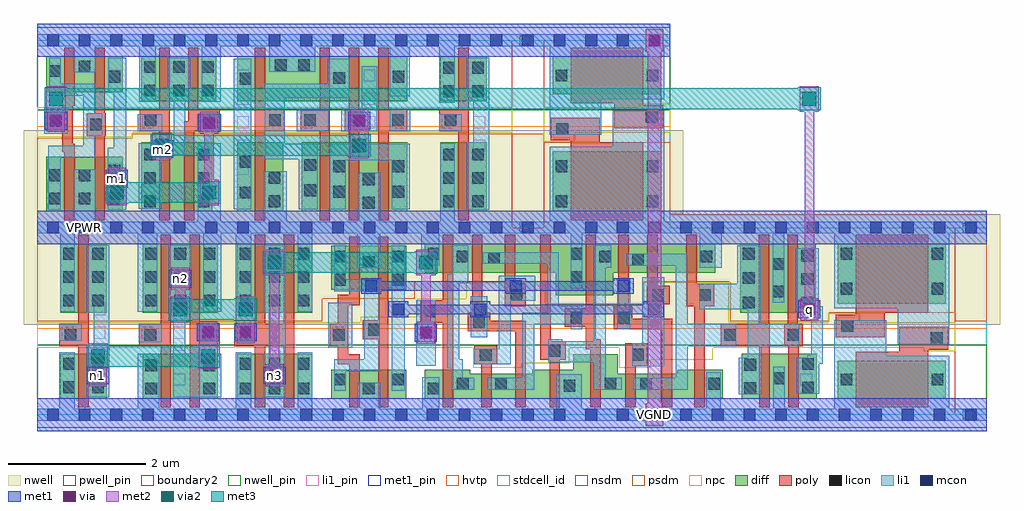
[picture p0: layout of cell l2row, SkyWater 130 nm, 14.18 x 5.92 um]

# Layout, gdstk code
import gdstk
lib = gdstk.Library(unit=1e-6, precision=1e-09)
def R(c, l, rs):  # rectangles x0, y0, x1, y1
    for r in rs: c.add(gdstk.rectangle(r[:2], r[2:], *l))
def A(c, l, x, y, w, h, nx, ny, dx, dy):  # array of equal rectangles
    R(c, l, [(x+i*dx, y+j*dy, x+i*dx+w, y+j*dy+h) for i in range(nx) for j in range(ny)])
nwell_pin = (64, 16)
nwell = (64, 20)
diff = (65, 20)
poly = (66, 20)
licon = (66, 44)
li1_pin = (67, 16)
li1 = (67, 20)
mcon = (67, 44)
met1_pin = (68, 16)
met1 = (68, 20)
via = (68, 44)
met2 = (69, 20)
via2 = (69, 44)
met3 = (70, 20)
hvtp = (78, 44)
stdcell_id = (81, 4)
nsdm = (93, 44)
psdm = (94, 20)
npc = (95, 20)
pwell_pin = (122, 16)
boundary2 = (236, 0)

l2row = lib.new_cell('l2row')
R(l2row, nwell_pin, [(0.145,2.635,0.315,2.805), (0.145,2.635,0.315,2.805), (0.145,2.635,0.315,2.805), (1.52,2.635,1.69,2.805), (1.53,2.635,1.7,2.805), (2.905,2.635,3.075,2.805), (2.905,2.635,3.075,2.805), (4.285,2.635,4.455,2.805), (4.285,2.635,4.455,2.805), (5.665,2.635,5.835,2.805), (5.665,2.635,5.835,2.805), (7.505,2.635,7.675,2.805), (11.645,2.635,11.815,2.805), (13.495,2.67,13.595,2.755), (7.055,2.685,7.155,2.77)])
A(l2row, nwell, -0.19, 1.305, 1.76, 1.605, 3, 1, 1.38, 0)
R(l2row, nwell, [(3.95,1.305,11.69,2.91), (11.31,1.305,13.53,2.91), (13.15,1.305,13.99,2.91), (-0.19,2.53,1.57,4.135), (1.19,2.53,2.95,4.135), (2.57,2.53,5.71,4.135), (5.33,2.53,7.09,4.135), (6.71,2.53,7.55,4.135), (7.17,2.53,9.39,4.135)])
R(l2row, diff, [(0.34,0.235,1.01,0.885), (1.535,0.235,2.625,0.885), (2.905,0.235,3.995,0.885), (4.275,0.235,5.365,0.655), (5.635,0.235,6.295,0.655), (6.295,0.235,7.195,0.595), (7.195,0.235,7.79,0.655), (7.79,0.235,8.44,0.875), (8.44,0.235,9.3,0.595), (9.3,0.235,9.96,0.655), (10.235,0.235,11.325,0.885), (11.635,0.235,13.205,0.785), (0.34,1.485,1.01,2.485), (1.535,1.485,2.625,2.485), (2.905,1.485,3.995,2.485), (10.215,1.485,11.315,2.485), (11.635,1.615,13.205,2.485), (7.535,1.735,8.37,2.485), (4.275,1.815,5.365,2.455), (5.635,2.065,7.535,2.485), (8.37,2.065,9.85,2.485), (0.135,2.955,1.245,3.745), (1.515,2.955,2.545,3.955), (2.905,2.955,3.575,3.955), (3.845,2.955,5.375,3.955), (5.86,2.955,6.53,3.955), (7.495,2.955,9.065,3.825), (1.515,4.555,2.605,5.205), (2.905,4.555,5.375,5.205), (5.86,4.555,6.53,5.205), (7.495,4.655,9.065,5.205), (0.135,4.685,1.245,5.205)])
R(l2row, poly, [(0.6,0.105,0.75,2.615), (1.795,0.105,1.945,2.615), (2.215,0.105,2.365,2.615), (3.165,0.105,3.315,2.615), (3.585,0.105,3.735,2.615), (4.535,0.105,4.685,0.88), (4.955,0.105,5.105,2.585), (5.895,0.105,6.045,2.615), (6.455,0.105,6.605,1.005), (6.95,0.105,7.1,1.365), (7.445,0.105,7.46,2.615), (7.46,0.105,7.595,1.065), (8.04,0.105,8.12,2.615), (8.12,0.105,8.19,1.1), (8.545,0.105,8.695,1.035), (9.075,0.105,9.225,1.395), (9.55,0.105,9.585,2.615), (9.585,0.105,9.7,1.905), (10.495,0.105,10.635,2.615), (10.635,0.105,10.645,1.325), (10.915,0.105,11.055,2.615), (11.055,0.105,11.065,1.325), (11.895,0.105,12.525,0.915), (12.525,0.105,12.945,1.275), (8.695,0.705,8.865,1.035), (4.37,0.73,4.52,1.74), (4.52,0.73,4.535,0.88), (6.355,0.735,6.455,1.005), (6.605,0.735,6.685,1.005), (7.31,0.795,7.445,2.615), (7.595,0.795,7.68,1.065), (12.945,0.945,13.235,1.275), (7.97,0.95,8.04,2.615), (0.32,0.995,0.6,1.325), (1.485,0.995,1.795,1.325), (2.365,0.995,2.655,1.325), (2.865,0.995,3.165,1.325), (3.315,0.995,3.585,1.325), (4.25,0.995,4.37,1.325), (9.935,0.995,10.485,1.325), (10.485,0.995,10.495,2.615), (10.855,0.995,10.905,1.325), (10.905,0.995,10.915,2.615), (11.065,0.995,11.125,1.325), (4.73,1.1,4.955,1.37), (11.605,1.125,11.895,1.455), (11.895,1.125,12.315,2.615), (6.255,1.215,6.32,1.485), (6.32,1.215,6.47,2.615), (6.47,1.215,6.585,1.485), (6.585,1.215,6.95,1.365), (8.38,1.245,8.445,1.575), (8.445,1.245,8.595,2.615), (8.595,1.245,8.65,1.575), (8.65,1.245,9.075,1.395), (7.67,1.275,7.97,1.545), (5.57,1.335,5.895,1.665), (12.315,1.485,12.945,2.615), (6.795,1.575,6.945,2.615), (6.945,1.575,7.1,1.905), (9.435,1.575,9.55,2.615), (9.7,1.575,9.84,1.905), (4.52,1.59,4.535,1.74), (4.535,1.59,4.685,2.585), (8.86,1.605,8.865,1.875), (8.865,1.605,9.015,2.615), (9.015,1.605,9.19,1.875), (0.395,2.825,0.515,5.335), (0.515,2.825,0.545,3.94), (0.835,2.825,0.985,5.335), (1.775,2.825,1.925,5.335), (2.135,2.825,2.195,4.265), (2.195,2.825,2.285,5.335), (3.165,2.825,3.315,5.335), (4.105,2.825,4.255,5.335), (4.53,2.825,4.68,5.335), (4.96,2.825,5.11,5.335), (6.12,2.825,6.27,5.335), (7.755,2.825,8.175,4.315), (8.175,2.825,8.805,3.955), (0.365,3.82,0.395,4.61), (7.465,3.985,7.755,4.315), (0.725,4.05,0.835,4.38), (0.985,4.05,0.995,4.38), (0.135,4.115,0.365,4.445), (1.49,4.115,1.775,4.445), (2.285,4.115,2.345,5.335), (2.345,4.115,2.655,4.445), (3.315,4.115,3.59,4.445), (3.83,4.115,4.105,4.445), (4.47,4.115,4.53,4.445), (4.68,4.115,4.74,4.445), (5.11,4.115,5.38,4.445), (5.84,4.115,6.12,4.445), (8.385,4.165,8.805,5.335), (8.805,4.165,9.095,4.495), (0.515,4.49,0.545,5.335), (7.755,4.525,8.385,5.335)])
A(l2row, licon, 2.945, 0.295, 0.17, 0.17, 3, 2, 0.42, 0.36)
A(l2row, licon, 10.255, 1.545, 0.17, 0.17, 1, 3, 0, 0.355)
A(l2row, licon, 11.105, 1.545, 0.17, 0.17, 1, 3, 0, 0.34)
A(l2row, licon, 0.38, 1.575, 0.17, 0.17, 1, 3, 0, 0.34)
A(l2row, licon, 0.8, 1.575, 0.17, 0.17, 1, 3, 0, 0.34)
A(l2row, licon, 1.575, 1.575, 0.17, 0.17, 3, 3, 0.42, 0.34)
A(l2row, licon, 2.945, 1.575, 0.17, 0.17, 3, 3, 0.42, 0.34)
A(l2row, licon, 1.555, 3.015, 0.17, 0.17, 1, 3, 0, 0.34)
A(l2row, licon, 2.335, 3.015, 0.17, 0.17, 1, 3, 0, 0.34)
A(l2row, licon, 5.9, 3.015, 0.17, 0.17, 1, 3, 0, 0.34)
A(l2row, licon, 6.32, 3.015, 0.17, 0.17, 1, 3, 0, 0.34)
A(l2row, licon, 0.175, 3.055, 0.17, 0.17, 3, 1, 0.43, 0)
A(l2row, licon, 3.88, 4.195, 0.17, 0.17, 3, 1, 0.64, 0)
A(l2row, licon, 1.555, 4.625, 0.17, 0.17, 3, 2, 0.42, 0.34)
R(l2row, licon, [(1.575,0.295,1.745,0.465), (2.415,0.295,2.585,0.465), (4.735,0.295,4.905,0.465), (5.675,0.295,5.845,0.465), (10.275,0.3,10.445,0.47), (11.115,0.31,11.285,0.48), (0.38,0.315,0.55,0.485), (0.8,0.315,0.97,0.485), (7.65,0.335,7.82,0.505), (6.1,0.365,6.27,0.535), (6.655,0.365,6.825,0.535), (8.245,0.365,8.415,0.535), (8.76,0.365,8.93,0.535), (9.75,0.365,9.92,0.535), (4.315,0.425,4.485,0.595), (5.155,0.425,5.325,0.595), (11.675,0.425,11.845,0.595), (12.995,0.425,13.165,0.595), (10.695,0.445,10.865,0.615), (1.575,0.635,1.745,0.805), (2.415,0.635,2.585,0.805), (10.275,0.64,10.445,0.81), (11.115,0.65,11.285,0.82), (0.38,0.655,0.55,0.825), (0.8,0.655,0.97,0.825), (6.435,0.785,6.605,0.955), (8.645,0.785,8.815,0.955), (7.43,0.845,7.6,1.015), (12.985,1.025,13.155,1.195), (0.4,1.075,0.57,1.245), (1.56,1.075,1.73,1.245), (2.4,1.075,2.57,1.245), (2.945,1.075,3.115,1.245), (4.3,1.075,4.47,1.245), (9.985,1.075,10.155,1.245), (10.905,1.075,11.075,1.245), (4.81,1.15,4.98,1.32), (11.685,1.205,11.855,1.375), (6.335,1.265,6.505,1.435), (7.75,1.325,7.92,1.495), (8.43,1.325,8.6,1.495), (5.62,1.415,5.79,1.585), (6.88,1.655,7.05,1.825), (8.94,1.655,9.11,1.825), (9.62,1.655,9.79,1.825), (10.685,1.705,10.855,1.875), (11.675,1.745,11.845,1.915), (12.995,1.745,13.165,1.915), (4.315,1.875,4.485,2.045), (5.155,1.875,5.325,2.045), (7.75,1.915,7.92,2.085), (10.685,2.105,10.855,2.275), (4.735,2.135,4.905,2.305), (8.645,2.165,8.815,2.335), (6.555,2.19,6.725,2.36), (4.315,2.215,4.485,2.385), (5.155,2.215,5.325,2.385), (6.095,2.215,6.265,2.385), (8.17,2.215,8.34,2.385), (9.64,2.215,9.81,2.385), (5.675,2.255,5.845,2.425), (7.75,2.255,7.92,2.425), (11.675,2.255,11.845,2.425), (12.995,2.255,13.165,2.425), (4.735,2.995,4.905,3.165), (3.365,3.015,3.535,3.185), (7.535,3.015,7.705,3.185), (8.855,3.015,9.025,3.185), (2.945,3.145,3.115,3.315), (4.305,3.155,4.475,3.325), (5.165,3.155,5.335,3.325), (3.885,3.175,4.055,3.345), (4.735,3.335,4.905,3.505), (3.365,3.355,3.535,3.525), (0.175,3.395,0.345,3.565), (0.605,3.395,0.775,3.565), (1.035,3.46,1.205,3.63), (4.305,3.525,4.475,3.695), (5.165,3.525,5.335,3.695), (7.535,3.525,7.705,3.695), (8.855,3.525,9.025,3.695), (3.885,3.545,4.055,3.715), (2.945,3.585,3.115,3.755), (7.545,4.065,7.715,4.235), (0.775,4.13,0.945,4.3), (0.185,4.195,0.355,4.365), (1.565,4.195,1.735,4.365), (2.405,4.195,2.575,4.365), (3.37,4.195,3.54,4.365), (5.92,4.195,6.09,4.365), (8.845,4.245,9.015,4.415), (5.9,4.615,6.07,4.785), (6.32,4.615,6.49,4.785), (2.945,4.795,3.115,4.965), (4.305,4.805,4.475,4.975), (1.035,4.825,1.205,4.995), (5.165,4.825,5.335,4.995), (7.535,4.845,7.705,5.015), (8.855,4.845,9.025,5.015), (0.175,4.91,0.345,5.08), (5.9,4.955,6.07,5.125), (6.32,4.955,6.49,5.125), (0.605,4.975,0.775,5.145), (3.455,4.995,3.625,5.165), (3.795,4.995,3.965,5.165)])
A(l2row, li1_pin, 3.365, 0.765, 0.17, 0.17, 1, 3, 0, 0.34)
A(l2row, li1_pin, 1.52, 1.105, 0.17, 0.17, 3, 1, 0.46, 0)
A(l2row, li1_pin, 2.905, 3.145, 0.17, 0.17, 1, 3, 0, 0.34)
A(l2row, li1_pin, 2.905, 4.165, 0.17, 0.17, 3, 1, 0.92, 0)
R(l2row, li1_pin, [(1.98,0.425,2.15,0.595), (11.09,0.425,11.26,0.595), (1.98,0.765,2.15,0.935), (0.36,1.105,0.53,1.275), (0.82,1.105,0.99,1.275), (2.905,1.105,3.075,1.275), (4.285,1.105,4.455,1.275), (5.585,1.105,5.755,1.275), (0.82,1.445,0.99,1.615), (0.145,2.635,0.315,2.805), (1.055,3.145,1.225,3.315), (1.53,3.145,1.7,3.315), (1.055,3.485,1.225,3.655), (6.34,3.825,6.51,3.995), (0.145,4.165,0.315,4.335), (1.525,4.165,1.695,4.335), (2.445,4.165,2.615,4.335), (5.205,4.165,5.375,4.335), (5.88,4.165,6.05,4.335), (6.34,4.165,6.51,4.335), (2.905,4.505,3.075,4.675), (4.745,4.505,4.915,4.675), (1.055,4.845,1.225,5.015), (2.905,4.845,3.075,5.015), (4.745,4.845,4.915,5.015), (0.155,5.355,0.325,5.525)])
R(l2row, li1, [(0,-0.085,1.38,0.085), (1.38,-0.085,1.465,0.085), (1.465,-0.085,1.775,0.885), (1.775,-0.085,2.76,0.085), (2.76,-0.085,2.885,0.085), (2.885,-0.085,3.115,0.905), (3.115,-0.085,3.785,0.085), (3.785,-0.085,3.995,0.905), (3.995,-0.085,4.14,0.085), (4.14,-0.085,4.655,0.085), (4.655,-0.085,4.985,0.465), (4.985,-0.085,5.595,0.085), (5.595,-0.085,5.845,0.545), (5.845,-0.085,7.54,0.085), (7.54,-0.085,7.91,0.585), (7.91,-0.085,9.725,0.085), (9.725,-0.085,9.935,0.615), (9.935,-0.085,10.695,0.085), (10.695,-0.085,10.865,0.695), (10.865,-0.085,11.5,0.085), (11.5,-0.085,11.585,0.085), (11.585,-0.085,12.335,1.375), (12.335,-0.085,13.255,0.855), (13.255,-0.085,13.34,0.085), (13.34,-0.085,13.8,0.085), (0.32,0.005,0.55,0.905), (0.72,0.255,0.82,0.885), (0.82,0.255,1.05,2.465), (1.98,0.255,2.15,2.465), (2.15,0.255,2.245,0.885), (2.245,0.255,2.675,0.885), (3.285,0.255,3.365,0.885), (3.365,0.255,3.615,2.465), (10.195,0.3,10.325,0.825), (10.325,0.3,10.515,2.465), (10.515,0.3,10.525,1.325), (11.035,0.305,11.19,0.825), (11.19,0.305,11.2,0.865), (11.2,0.305,11.245,0.865), (11.245,0.305,11.355,2.42), (11.355,0.305,11.365,1.575), (4.315,0.345,4.485,0.805), (5.155,0.345,5.34,2.465), (6.015,0.365,6.13,2.465), (6.13,0.365,6.185,0.805), (6.185,0.365,6.265,0.535), (6.265,0.365,6.35,0.535), (6.545,0.365,7.05,0.535), (7.05,0.365,7.22,1.485), (8.09,0.365,8.26,2.465), (8.26,0.365,8.34,0.535), (8.34,0.365,8.495,0.535), (8.665,0.365,9.28,0.535), (9.28,0.365,9.45,2.335), (0.8,0.485,0.97,0.655), (3.365,0.485,3.535,0.655), (4.485,0.635,4.75,0.805), (4.75,0.635,4.98,1.965), (5.96,0.675,6.015,2.04), (8.645,0.705,8.79,1.035), (8.79,0.705,9.11,1.995), (5.51,0.715,5.79,1.665), (6.355,0.735,6.71,0.955), (6.71,0.735,6.88,2.02), (11.365,0.74,11.415,1.575), (7.43,0.765,7.63,1.095), (7.63,0.765,8.09,1.065), (4.23,0.975,4.58,1.625), (9.45,0.995,10.155,1.325), (10.525,0.995,11.075,1.325), (12.505,1.025,13.255,2.805), (1.475,1.055,1.81,1.325), (0.32,1.075,0.65,1.315), (2.32,1.075,2.655,1.325), (2.865,1.075,3.195,1.325), (5.565,1.105,5.735,1.275), (2.403,1.115,2.573,1.285), (2.945,1.115,3.115,1.285), (6.3,1.125,6.54,1.72), (7.75,1.245,7.92,1.575), (8.43,1.245,8.62,1.965), (7.22,1.315,7.41,1.485), (7.41,1.315,7.58,2.36), (7.58,1.315,7.75,1.575), (11.2,1.445,11.245,2.42), (11.135,1.45,11.305,1.62), (0.72,1.485,0.82,2.465), (1.915,1.485,1.98,2.465), (2.15,1.485,2.245,2.465), (3.285,1.485,3.365,2.465), (0.34,1.495,0.55,2.675), (1.465,1.495,1.745,2.805), (2.415,1.495,2.675,2.805), (2.885,1.495,3.115,2.805), (3.785,1.495,3.995,2.805), (11.025,1.495,11.035,2.42), (11.035,1.495,11.19,2.42), (11.19,1.495,11.2,2.42), (9.62,1.53,10.175,1.905), (10.175,1.53,10.195,2.465), (10.195,1.53,10.325,2.465), (11.585,1.545,12.505,2.805), (10.685,1.625,10.855,2.805), (6.88,1.655,7.24,2.02), (4.315,1.795,4.485,2.465), (4.485,1.795,4.75,1.965), (7.75,1.835,7.92,2.805), (1.995,1.89,2.165,2.06), (6.13,1.91,6.185,2.465), (6.185,1.91,6.265,2.465), (4.655,2.135,4.985,2.805), (8.26,2.135,8.34,2.465), (9.63,2.135,9.945,2.805), (8.565,2.165,8.665,2.335), (8.665,2.165,9.28,2.335), (5.58,2.175,5.845,2.805), (6.475,2.19,6.545,2.36), (6.545,2.19,7.05,2.36), (7.05,2.19,7.22,2.36), (7.22,2.19,7.41,2.36), (0,2.635,1.38,2.805), (0,2.635,0.525,2.805), (0.525,2.635,0.855,3.565), (0.855,2.635,1.38,2.805), (1.38,2.635,1.465,2.805), (1.38,2.635,2.335,2.805), (1.745,2.635,2.415,2.805), (2.335,2.635,2.665,3.945), (2.665,2.635,2.76,2.805), (2.675,2.635,2.76,2.805), (2.76,2.635,2.885,2.805), (2.76,2.635,3.285,2.805), (3.115,2.635,3.785,2.805), (3.285,2.635,3.625,3.535), (3.625,2.635,4.655,2.805), (3.995,2.635,4.14,2.805), (4.14,2.635,4.655,2.805), (4.655,2.635,4.985,3.515), (4.985,2.635,5.58,2.805), (4.985,2.635,5.52,2.805), (5.52,2.635,6.9,2.805), (5.845,2.635,7.75,2.805), (6.9,2.635,7.36,2.805), (7.36,2.635,7.445,2.805), (7.445,2.635,8.365,3.895), (7.92,2.635,9.63,2.805), (8.365,2.635,9.115,4.415), (9.115,2.635,9.2,2.805), (9.945,2.635,10.685,2.805), (10.855,2.635,11.5,2.805), (11.5,2.635,11.585,2.805), (13.255,2.635,13.34,2.805), (13.34,2.635,13.8,2.805), (5.86,2.765,6.07,3.945), (0.165,2.975,0.175,3.905), (0.175,2.975,0.345,3.905), (1.025,2.975,1.035,3.88), (1.035,2.975,1.115,3.88), (1.115,2.975,1.295,5.185), (6.24,2.975,6.34,3.955), (6.34,2.975,6.57,5.185), (2.855,2.985,3.115,5.175), (3.805,2.985,4.075,3.935), (4.255,2.985,4.485,3.935), (5.155,2.985,5.415,3.935), (1.475,2.99,1.805,3.945), (1.075,3.342,1.245,3.512), (4.485,3.695,5.155,3.935), (3.305,3.715,3.595,4.805), (3.595,3.715,3.805,3.935), (0.345,3.735,0.67,3.905), (0.67,3.735,0.84,4.805), (1.73,3.775,1.9,3.945), (1.805,3.775,1.895,3.945), (1.895,3.775,1.985,3.945), (1.985,3.775,2.155,5.185), (0.84,4.05,0.945,4.38), (7.445,4.065,8.195,5.525), (0.105,4.085,0.445,4.455), (1.465,4.115,1.815,4.365), (2.325,4.115,2.675,4.365), (3.775,4.115,4.24,4.425), (4.42,4.115,4.715,4.425), (4.715,4.115,4.945,5.065), (5.125,4.115,5.425,4.445), (5.84,4.125,6.17,4.365), (2.415,4.155,2.585,4.325), (0.19,4.185,0.36,4.355), (4.597,4.185,4.767,4.355), (5.84,4.535,6.07,5.435), (1.485,4.545,1.725,5.525), (1.895,4.545,1.985,5.185), (2.155,4.545,2.225,5.185), (2.395,4.545,2.665,5.525), (6.24,4.555,6.34,5.185), (8.195,4.585,9.115,5.525), (3.595,4.605,3.805,4.805), (3.805,4.605,4.075,4.805), (4.075,4.605,4.225,4.805), (4.225,4.605,4.535,5.175), (5.125,4.625,5.415,5.525), (0.175,4.635,0.345,5.185), (0.345,4.635,0.67,4.805), (1.035,4.68,1.115,5.185), (0.525,4.975,0.855,5.525), (3.375,4.985,4.045,5.525), (0,5.355,0.525,5.525), (0.855,5.355,1.38,5.525), (1.38,5.355,1.485,5.525), (1.725,5.355,2.395,5.525), (2.665,5.355,2.76,5.525), (2.76,5.355,3.375,5.525), (4.045,5.355,5.125,5.525), (5.415,5.355,5.52,5.525), (5.52,5.355,6.9,5.525), (6.9,5.355,7.36,5.525), (7.36,5.355,7.445,5.525), (9.115,5.355,9.2,5.525)])
A(l2row, mcon, 0.145, -0.085, 0.17, 0.17, 30, 1, 0.46, 0)
A(l2row, mcon, 8.885, 2.635, 0.17, 0.17, 11, 1, 0.46, 0)
A(l2row, mcon, 0.145, 5.355, 0.17, 0.17, 20, 1, 0.46, 0)
R(l2row, mcon, [(0.8,0.485,0.97,0.655), (3.365,0.485,3.535,0.655), (5.565,1.105,5.735,1.275), (2.403,1.115,2.573,1.285), (2.945,1.115,3.115,1.285), (5.165,1.445,5.335,1.615), (6.355,1.445,6.525,1.615), (8.875,1.445,9.045,1.615), (11.135,1.45,11.305,1.62), (4.77,1.785,4.94,1.955), (6.87,1.785,7.04,1.955), (8.44,1.785,8.61,1.955), (1.995,1.89,2.165,2.06), (0.145,2.635,0.315,2.805), (0.145,2.635,0.315,2.805), (0.605,2.635,0.775,2.805), (0.605,2.635,0.775,2.805), (1.065,2.635,1.235,2.805), (1.065,2.635,1.235,2.805), (1.525,2.635,1.695,2.805), (1.525,2.635,1.695,2.805), (1.985,2.635,2.155,2.805), (1.985,2.635,2.155,2.805), (2.445,2.635,2.615,2.805), (2.445,2.635,2.615,2.805), (2.905,2.635,3.075,2.805), (2.905,2.635,3.075,2.805), (3.365,2.635,3.535,2.805), (3.365,2.635,3.535,2.805), (3.825,2.635,3.995,2.805), (3.825,2.635,3.995,2.805), (4.285,2.635,4.455,2.805), (4.285,2.635,4.455,2.805), (4.745,2.635,4.915,2.805), (4.745,2.635,4.915,2.805), (5.205,2.635,5.375,2.805), (5.205,2.635,5.375,2.805), (5.665,2.635,5.835,2.805), (5.665,2.635,5.835,2.805), (6.125,2.635,6.295,2.805), (6.125,2.635,6.295,2.805), (6.585,2.635,6.755,2.805), (6.585,2.635,6.755,2.805), (7.045,2.635,7.215,2.805), (7.045,2.635,7.215,2.805), (7.505,2.635,7.675,2.805), (7.505,2.635,7.675,2.805), (7.965,2.635,8.135,2.805), (7.965,2.635,8.135,2.805), (8.425,2.635,8.595,2.805), (8.425,2.635,8.595,2.805), (8.885,2.635,9.055,2.805), (1.075,3.342,1.245,3.512), (1.73,3.775,1.9,3.945), (2.415,4.155,2.585,4.325), (0.19,4.185,0.36,4.355), (4.597,4.185,4.767,4.355)])
A(l2row, met1_pin, 2.905, 2.635, 0.17, 0.17, 3, 1, 1.38, 0)
A(l2row, met1_pin, 0.155, 5.355, 0.17, 0.17, 3, 1, 1.375, 0)
R(l2row, met1_pin, [(0.145,-0.085,0.315,0.085), (0.145,-0.085,0.315,0.085), (1.52,-0.085,1.69,0.085), (2.905,-0.085,3.075,0.085), (4.285,-0.085,4.455,0.085), (11.645,-0.085,11.815,0.085), (13.45,-0.065,13.63,0.08), (0.145,2.635,0.315,2.805), (0.145,2.635,0.315,2.805), (0.145,2.635,0.315,2.805), (1.52,2.635,1.69,2.805), (1.53,2.635,1.7,2.805), (2.905,2.635,3.075,2.805), (5.665,2.635,5.835,2.805), (7.505,2.635,7.675,2.805), (11.645,2.635,11.815,2.805), (13.45,2.635,13.63,2.785), (7.01,2.655,7.19,2.805), (5.665,5.355,5.835,5.525), (5.665,5.355,5.835,5.525), (7.505,5.355,7.675,5.525), (7.01,5.36,7.19,5.505)])
A(l2row, met1, 0, -0.24, 1.38, 0.48, 3, 1, 1.38, 0)
R(l2row, met1, [(4.14,-0.24,11.5,0.24), (11.5,-0.24,13.34,0.24), (13.34,-0.24,13.8,0.24), (8.81,-0.13,9.13,0.13), (8.9,-0.07,9.04,0.07), (8.9,-0.07,9.04,0.07), (0.725,0.44,1.045,0.7), (3.29,0.44,3.61,0.7), (0.74,0.455,1.03,0.685), (3.305,0.455,3.595,0.685), (0.815,0.5,0.955,0.64), (0.815,0.5,0.955,0.64), (0.815,0.5,0.955,0.64), (0.815,0.5,0.955,0.64), (3.38,0.5,3.52,0.64), (3.38,0.5,3.52,0.64), (3.38,0.5,3.52,0.64), (3.38,0.5,3.52,0.64), (5.49,1.06,5.81,1.32), (2.328,1.07,2.648,1.33), (2.87,1.07,3.19,1.33), (5.505,1.075,5.795,1.305), (2.343,1.085,2.633,1.315), (2.885,1.085,3.175,1.315), (5.58,1.12,5.72,1.26), (5.58,1.12,5.72,1.26), (5.58,1.12,5.72,1.26), (5.58,1.12,5.72,1.26), (2.418,1.13,2.558,1.27), (2.418,1.13,2.558,1.27), (2.418,1.13,2.558,1.27), (2.418,1.13,2.558,1.27), (2.96,1.13,3.1,1.27), (2.96,1.13,3.1,1.27), (2.96,1.13,3.1,1.27), (2.96,1.13,3.1,1.27), (11.06,1.405,11.38,1.665), (5.105,1.415,5.395,1.645), (6.295,1.415,6.585,1.645), (8.815,1.415,9.105,1.645), (11.075,1.42,11.365,1.65), (5.395,1.46,6.295,1.6), (6.585,1.46,8.815,1.6), (11.15,1.465,11.29,1.605), (11.15,1.465,11.29,1.605), (11.15,1.465,11.29,1.605), (11.15,1.465,11.29,1.605), (4.71,1.755,5,1.985), (6.81,1.755,7.1,1.985), (8.38,1.755,8.67,1.985), (5,1.8,6.81,1.94), (7.1,1.8,8.38,1.94), (1.92,1.845,2.24,2.105), (1.935,1.86,2.225,2.09), (2.01,1.905,2.15,2.045), (2.01,1.905,2.15,2.045), (2.01,1.905,2.15,2.045), (2.01,1.905,2.15,2.045), (0,2.48,1.38,2.96), (0,2.48,1.38,2.96), (1.38,2.48,2.76,2.96), (1.38,2.48,2.76,2.96), (2.76,2.48,4.14,2.96), (2.76,2.48,5.52,2.96), (4.14,2.48,11.5,2.96), (5.52,2.48,6.9,2.96), (6.9,2.48,7.36,2.96), (7.36,2.48,9.2,2.96), (11.5,2.48,13.34,2.96), (13.34,2.48,13.8,2.96), (1,3.297,1.32,3.557), (1.015,3.312,1.305,3.542), (1.09,3.357,1.23,3.497), (1.09,3.357,1.23,3.497), (1.09,3.357,1.23,3.497), (1.09,3.357,1.23,3.497), (1.655,3.73,1.975,3.99), (1.67,3.745,1.96,3.975), (1.745,3.79,1.885,3.93), (1.745,3.79,1.885,3.93), (1.745,3.79,1.885,3.93), (1.745,3.79,1.885,3.93), (2.34,4.11,2.66,4.37), (2.355,4.125,2.645,4.355), (0.115,4.14,0.435,4.4), (4.522,4.14,4.842,4.4), (0.13,4.155,0.42,4.385), (4.537,4.155,4.827,4.385), (2.43,4.17,2.57,4.31), (2.43,4.17,2.57,4.31), (2.43,4.17,2.57,4.31), (2.43,4.17,2.57,4.31), (0.205,4.2,0.345,4.34), (0.205,4.2,0.345,4.34), (0.205,4.2,0.345,4.34), (0.205,4.2,0.345,4.34), (4.612,4.2,4.752,4.34), (4.612,4.2,4.752,4.34), (4.612,4.2,4.752,4.34), (4.612,4.2,4.752,4.34), (0,5.2,1.38,5.68), (1.38,5.2,2.76,5.68), (2.76,5.2,5.52,5.68), (5.52,5.2,6.9,5.68), (6.9,5.2,7.36,5.68), (7.36,5.2,9.2,5.68), (8.81,5.31,9.13,5.57), (8.9,5.37,9.04,5.51), (8.9,5.37,9.04,5.51)])
R(l2row, via, [(8.895,-0.075,9.045,0.075), (0.81,0.495,0.96,0.645), (3.375,0.495,3.525,0.645), (5.575,1.115,5.725,1.265), (2.413,1.125,2.563,1.275), (2.955,1.125,3.105,1.275), (11.145,1.46,11.295,1.61), (2.005,1.9,2.155,2.05), (1.085,3.352,1.235,3.502), (1.74,3.785,1.89,3.935), (2.425,4.165,2.575,4.315), (0.2,4.195,0.35,4.345), (4.607,4.195,4.757,4.345), (8.895,5.365,9.045,5.515)])
R(l2row, met2, [(8.84,-0.16,9.1,0.16), (8.87,-0.1,9.07,5.54), (0.755,0.41,1.015,0.73), (3.32,0.41,3.58,0.73), (0.815,0.5,0.955,0.92), (3.38,0.5,3.52,2.28), (0.745,0.665,1.025,1.035), (2.348,0.665,2.628,1.035), (0.815,0.78,0.955,0.92), (2.418,0.78,2.558,1.27), (5.52,1.03,5.78,1.35), (2.358,1.04,2.618,1.36), (2.9,1.04,3.16,1.36), (5.58,1.12,5.72,2.28), (2.96,1.13,3.1,1.6), (1.94,1.345,2.22,1.715), (2.89,1.345,3.17,1.715), (11.09,1.375,11.35,1.695), (2.01,1.46,2.15,1.6), (2.01,1.46,2.15,2.045), (11.15,1.465,11.29,4.66), (1.95,1.815,2.21,2.135), (3.31,2.025,3.59,2.395), (5.51,2.025,5.79,2.395), (3.38,2.14,3.52,2.28), (1.02,3.045,1.3,3.415), (2.36,3.045,2.64,3.415), (1.09,3.16,1.23,3.3), (1.09,3.16,1.23,3.497), (2.43,3.16,2.57,4.31), (1.03,3.267,1.29,3.587), (1.685,3.7,1.945,4.02), (1.675,3.725,1.955,4.095), (4.542,3.725,4.822,4.095), (1.745,3.79,1.885,3.98), (1.745,3.84,1.885,3.98), (4.612,3.84,4.752,4.34), (2.37,4.08,2.63,4.4), (0.145,4.11,0.405,4.43), (4.552,4.11,4.812,4.43), (0.205,4.2,0.345,4.66), (0.135,4.405,0.415,4.775), (11.08,4.405,11.36,4.775), (11.15,4.52,11.29,4.66), (8.84,5.28,9.1,5.6)])
R(l2row, via2, [(0.785,0.75,0.985,0.95), (2.388,0.75,2.588,0.95), (1.98,1.43,2.18,1.63), (2.93,1.43,3.13,1.63), (3.35,2.11,3.55,2.31), (5.55,2.11,5.75,2.31), (1.06,3.13,1.26,3.33), (2.4,3.13,2.6,3.33), (1.715,3.81,1.915,4.01), (4.582,3.81,4.782,4.01), (0.175,4.49,0.375,4.69), (11.12,4.49,11.32,4.69)])
R(l2row, met3, [(0.72,0.685,1.05,1.015), (2.323,0.685,2.653,1.015), (0.735,0.7,2.638,1), (2.338,0.7,2.638,1), (1.915,1.365,2.245,1.695), (2.865,1.365,3.195,1.695), (1.93,1.38,3.18,1.68), (2.88,1.38,3.18,1.68), (3.285,2.045,3.615,2.375), (5.485,2.045,5.815,2.375), (3.3,2.06,5.8,2.36), (5.5,2.06,5.8,2.36), (0.995,3.065,1.325,3.395), (2.335,3.065,2.665,3.395), (1.01,3.08,2.65,3.38), (2.35,3.08,2.65,3.38), (1.65,3.745,1.98,4.075), (4.517,3.745,4.847,4.075), (1.665,3.76,4.832,4.06), (4.532,3.76,4.832,4.06), (0.11,4.425,0.44,4.755), (11.055,4.425,11.385,4.755), (0.125,4.44,0.425,4.74), (0.125,4.44,11.37,4.74)])
A(l2row, hvtp, 0, 1.25, 1.38, 1.47, 3, 1, 1.38, 0)
R(l2row, hvtp, [(4.14,1.25,11.5,2.72), (11.5,1.25,13.34,2.72), (13.34,1.25,13.8,2.72), (0,2.72,1.38,4.19), (1.38,2.72,2.76,4.19), (2.76,2.72,5.52,4.19), (5.52,2.72,6.9,4.19), (6.9,2.72,7.36,4.19), (7.36,2.72,9.2,4.19)])
A(l2row, stdcell_id, 0, 0, 1.38, 2.72, 3, 1, 1.38, 0)
R(l2row, stdcell_id, [(4.14,0,11.5,2.72), (11.5,0,13.34,2.72), (13.34,0,13.8,2.72), (0,2.72,1.38,5.44), (1.38,2.72,2.76,5.44), (2.76,2.72,5.52,5.44), (5.52,2.72,6.9,5.44), (6.9,2.72,7.36,5.44), (7.36,2.72,9.2,5.44)])
A(l2row, nsdm, 0, -0.19, 1.38, 1.205, 3, 1, 1.38, 0)
R(l2row, nsdm, [(4.14,-0.19,11.5,1.015), (11.5,-0.19,13.34,1.015), (13.34,-0.19,13.8,1.015), (0,4.425,1.38,5.63), (1.38,4.425,2.76,5.63), (2.76,4.425,5.52,5.63), (5.52,4.425,6.9,5.63), (6.9,4.425,7.36,5.63), (7.36,4.425,9.2,5.63)])
A(l2row, psdm, 0, 1.355, 1.38, 1.555, 3, 1, 1.38, 0)
R(l2row, psdm, [(10.07,1.355,11.5,2.91), (13.34,1.355,13.8,2.91), (11.5,1.485,13.34,2.91), (7.38,1.605,8.805,2.91), (4.14,1.685,5.49,2.91), (5.49,1.935,7.38,2.91), (8.805,1.935,10.07,2.91), (0,2.53,1.38,4.02), (1.38,2.53,2.76,4.085), (2.76,2.53,5.52,4.085), (5.52,2.53,6.9,4.085), (6.9,2.53,7.36,4.085), (7.36,2.53,9.2,3.955)])
A(l2row, npc, 0, 0.975, 1.38, 0.37, 3, 1, 1.38, 0)
R(l2row, npc, [(6.335,0.685,7.045,1.925), (8.46,0.685,8.815,1.595), (8.815,0.685,8.915,1.925), (7.045,0.745,7.225,1.925), (7.225,0.745,7.73,1.595), (8.915,0.795,9.815,1.925), (12.885,0.925,13.34,1.345), (4.14,0.975,4.705,1.345), (4.705,0.975,5.52,1.42), (5.52,0.975,6.235,1.685), (6.235,0.975,6.335,1.925), (7.73,0.975,8.46,1.595), (9.815,0.975,10.05,1.925), (10.05,0.975,11.5,1.345), (11.5,0.975,11.955,1.475), (11.955,0.975,12.885,1.345), (7.36,3.965,7.815,4.465), (0,4.03,1.38,4.465), (1.38,4.095,2.76,4.465), (2.76,4.095,5.52,4.465), (5.52,4.095,6.9,4.465), (7.815,4.095,8.745,4.465), (8.745,4.095,9.2,4.515)])
A(l2row, pwell_pin, 0.155, 5.355, 0.17, 0.17, 3, 1, 1.375, 0)
R(l2row, pwell_pin, [(0.145,-0.085,0.315,0.085), (0.145,-0.085,0.315,0.085), (1.52,-0.085,1.69,0.085), (2.905,-0.085,3.075,0.085), (4.285,-0.085,4.455,0.085), (4.285,-0.085,4.455,0.085), (11.645,-0.085,11.815,0.085), (13.48,-0.055,13.6,0.055), (5.665,5.355,5.835,5.525), (5.665,5.355,5.835,5.525), (7.505,5.355,7.675,5.525), (7.04,5.385,7.16,5.495)])
A(l2row, boundary2, 0, 0, 1.38, 2.72, 3, 1, 1.38, 0)
R(l2row, boundary2, [(4.14,0,11.5,2.72), (11.5,0,13.34,2.72), (0,2.72,1.38,5.44), (1.38,2.72,2.76,5.44), (2.76,2.72,5.52,5.44), (5.52,2.72,6.9,5.44), (7.36,2.72,9.2,5.44)])
l2row.add(gdstk.Label('VPWR', (0.69,2.72), layer=67, texttype=20))
l2row.add(gdstk.Label('VGND', (8.97,0), layer=68, texttype=20))
l2row.add(gdstk.Label('n1', (0.885,0.57), layer=68, texttype=20))
l2row.add(gdstk.Label('n2', (2.08,1.975), layer=68, texttype=20))
l2row.add(gdstk.Label('n3', (3.45,0.57), layer=68, texttype=20))
l2row.add(gdstk.Label('m1', (1.16,3.427), layer=68, texttype=20))
l2row.add(gdstk.Label('m2', (1.815,3.86), layer=68, texttype=20))
l2row.add(gdstk.Label('q', (11.22,1.535), layer=68, texttype=20))

lib.write_gds('l2row.gds')
